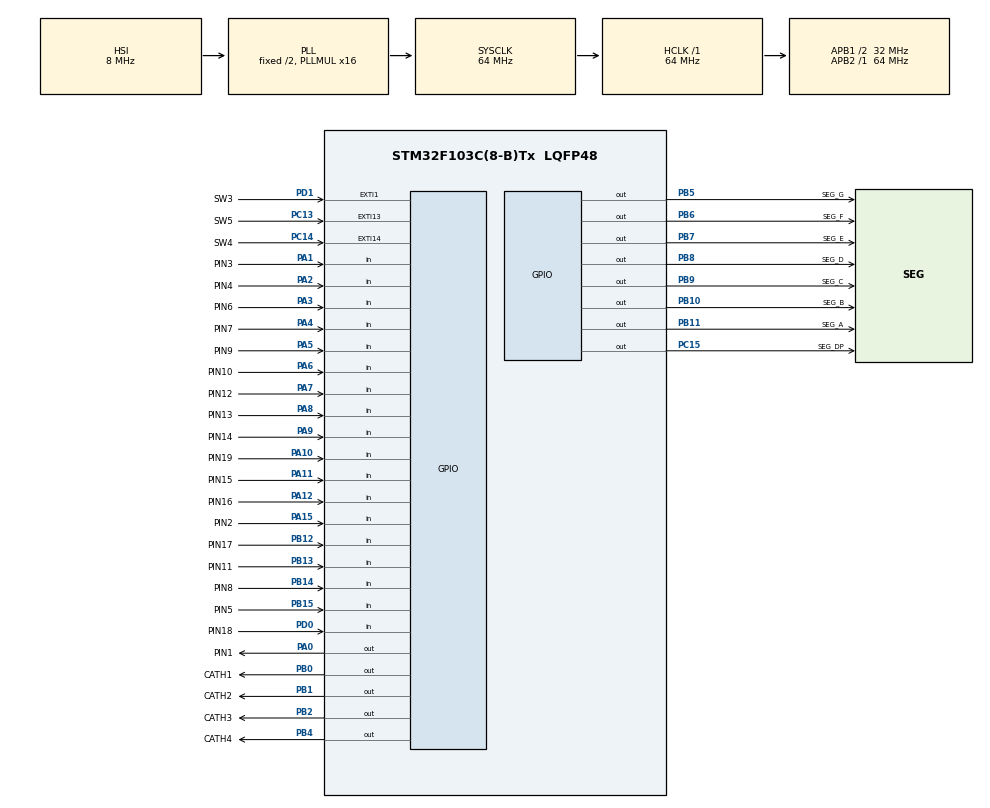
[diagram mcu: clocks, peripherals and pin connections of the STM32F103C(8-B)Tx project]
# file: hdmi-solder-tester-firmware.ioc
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Mcu.Family=STM32F1
Mcu.Name=STM32F103C(8-B)Tx
Mcu.Package=LQFP48
NVIC.EXTI15_10_IRQn=true\:0\:0\:false\:false\:true\:true\:true\:true
NVIC.EXTI1_IRQn=true\:0\:0\:false\:false\:true\:true\:true\:true
NVIC.PriorityGroup=NVIC_PRIORITYGROUP_4
PA0-WKUP.GPIO_Label=PIN1
PA0-WKUP.GPIO_PuPd=GPIO_PULLDOWN
PA0-WKUP.Signal=GPIO_Output
PA1.GPIO_Label=PIN3
PA1.GPIO_PuPd=GPIO_PULLDOWN
PA1.Signal=GPIO_Input
PA10.GPIO_Label=PIN19
PA10.GPIO_PuPd=GPIO_PULLDOWN
PA10.Signal=GPIO_Input
PA11.GPIO_Label=PIN15
PA11.GPIO_PuPd=GPIO_PULLDOWN
PA11.Signal=GPIO_Input
PA12.GPIO_Label=PIN16
PA12.GPIO_PuPd=GPIO_PULLDOWN
PA12.Signal=GPIO_Input
PA13.Mode=Trace_Asynchronous_SW
PA13.Signal=SYS_JTMS-SWDIO
PA14.Mode=Trace_Asynchronous_SW
PA14.Signal=SYS_JTCK-SWCLK
PA15.GPIO_Label=PIN2
PA15.GPIO_PuPd=GPIO_PULLDOWN
PA15.Signal=GPIO_Input
PA2.GPIO_Label=PIN4
PA2.GPIO_PuPd=GPIO_PULLDOWN
PA2.Signal=GPIO_Input
PA3.GPIO_Label=PIN6
PA3.GPIO_PuPd=GPIO_PULLDOWN
PA3.Signal=GPIO_Input
PA4.GPIO_Label=PIN7
PA4.GPIO_PuPd=GPIO_PULLDOWN
PA4.Signal=GPIO_Input
PA5.GPIO_Label=PIN9
PA5.GPIO_PuPd=GPIO_PULLDOWN
PA5.Signal=GPIO_Input
PA6.GPIO_Label=PIN10
PA6.GPIO_PuPd=GPIO_PULLDOWN
PA6.Signal=GPIO_Input
PA7.GPIO_Label=PIN12
PA7.GPIO_PuPd=GPIO_PULLDOWN
PA7.Signal=GPIO_Input
PA8.GPIO_Label=PIN13
PA8.GPIO_PuPd=GPIO_PULLDOWN
PA8.Signal=GPIO_Input
PA9.GPIO_Label=PIN14
PA9.GPIO_PuPd=GPIO_PULLDOWN
PA9.Signal=GPIO_Input
PB0.GPIO_Label=CATH1
PB0.Signal=GPIO_Output
PB1.GPIO_Label=CATH2
PB1.Signal=GPIO_Output
PB10.GPIO_Label=SEG_B
PB10.Signal=GPIO_Output
PB11.GPIO_Label=SEG_A
PB11.Signal=GPIO_Output
PB12.GPIO_Label=PIN17
PB12.GPIO_PuPd=GPIO_PULLDOWN
PB12.Signal=GPIO_Input
PB13.GPIO_Label=PIN11
PB13.GPIO_PuPd=GPIO_PULLDOWN
PB13.Signal=GPIO_Input
PB14.GPIO_Label=PIN8
PB14.GPIO_PuPd=GPIO_PULLDOWN
PB14.Signal=GPIO_Input
PB15.GPIO_Label=PIN5
PB15.GPIO_PuPd=GPIO_PULLDOWN
PB15.Signal=GPIO_Input
PB2.GPIO_Label=CATH3
PB2.Signal=GPIO_Output
PB3.Mode=Trace_Asynchronous_SW
PB3.Signal=SYS_JTDO-TRACESWO
PB4.GPIO_Label=CATH4
PB4.Signal=GPIO_Output
PB5.GPIO_Label=SEG_G
PB5.Signal=GPIO_Output
PB6.GPIO_Label=SEG_F
PB6.Signal=GPIO_Output
PB7.GPIO_Label=SEG_E
PB7.Signal=GPIO_Output
PB8.GPIO_Label=SEG_D
PB8.Signal=GPIO_Output
PB9.GPIO_Label=SEG_C
PB9.Signal=GPIO_Output
PC13-TAMPER-RTC.GPIO_Label=SW5
PC13-TAMPER-RTC.GPIO_PuPd=GPIO_PULLDOWN
PC13-TAMPER-RTC.Signal=GPXTI13
PC14-OSC32_IN.GPIO_Label=SW4
PC14-OSC32_IN.GPIO_PuPd=GPIO_PULLDOWN
PC14-OSC32_IN.Signal=GPXTI14
PC15-OSC32_OUT.GPIO_Label=SEG_DP
PC15-OSC32_OUT.Signal=GPIO_Output
PD0-OSC_IN.GPIO_Label=PIN18
PD0-OSC_IN.GPIO_PuPd=GPIO_PULLDOWN
PD0-OSC_IN.Signal=GPIO_Input
PD1-OSC_OUT.GPIO_Label=SW3
PD1-OSC_OUT.GPIO_PuPd=GPIO_PULLDOWN
PD1-OSC_OUT.Signal=GPXTI1
ProjectManager.HeapSize=0x200
ProjectManager.StackSize=0x400
ProjectManager.TargetToolchain=STM32CubeIDE
RCC.AHBFreq_Value=64000000
RCC.APB1CLKDivider=RCC_HCLK_DIV2
RCC.APB1Freq_Value=32000000
RCC.APB1TimFreq_Value=64000000
RCC.APB2Freq_Value=64000000
RCC.APB2TimFreq_Value=64000000
RCC.HCLKFreq_Value=64000000
RCC.PLLMUL=RCC_PLL_MUL16
RCC.SYSCLKFreq_VALUE=64000000
RCC.SYSCLKSource=RCC_SYSCLKSOURCE_PLLCLK
RCC.USBFreq_Value=64000000
board=custom

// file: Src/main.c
/* USER CODE BEGIN Header */
/**
  ******************************************************************************
  * @file           : main.c
  * @brief          : Main program body
  ******************************************************************************
  * @attention
  *
  * Copyright (c) 2024 STMicroelectronics.
  * All rights reserved.
  *
  * This software is licensed under terms that can be found in the LICENSE file
  * in the root directory of this software component.
  * If no LICENSE file comes with this software, it is provided AS-IS.
  *
  ******************************************************************************
  */
/* USER CODE END Header */
#include "main.h"

/* USER CODE BEGIN Includes */
#include <stdbool.h>

/* USER CODE END Includes */

void SystemClock_Config(void);

static void MX_GPIO_Init(void);

/* USER CODE BEGIN 0 */
static GPIO_TypeDef *pinToPort[] = {
    NULL, PIN1_GPIO_Port, PIN2_GPIO_Port, PIN3_GPIO_Port, PIN4_GPIO_Port, PIN5_GPIO_Port, PIN6_GPIO_Port,
    PIN7_GPIO_Port, PIN8_GPIO_Port, PIN9_GPIO_Port, PIN10_GPIO_Port, PIN11_GPIO_Port, PIN12_GPIO_Port, PIN13_GPIO_Port,
    PIN14_GPIO_Port, PIN15_GPIO_Port, PIN16_GPIO_Port, PIN17_GPIO_Port, PIN18_GPIO_Port, PIN19_GPIO_Port};

static int pinToPin[] = {
    -1, PIN1_Pin, PIN2_Pin, PIN3_Pin, PIN4_Pin, PIN5_Pin, PIN6_Pin, PIN7_Pin, PIN8_Pin, PIN9_Pin,
    PIN10_Pin, PIN11_Pin, PIN12_Pin, PIN13_Pin, PIN14_Pin, PIN15_Pin, PIN16_Pin, PIN17_Pin,
    PIN18_Pin, PIN19_Pin};

static GPIO_TypeDef *segmentToGpioPort[] = {SEG_A_GPIO_Port, SEG_B_GPIO_Port, SEG_C_GPIO_Port, SEG_D_GPIO_Port,
                                            SEG_E_GPIO_Port, SEG_F_GPIO_Port, SEG_G_GPIO_Port, SEG_DP_GPIO_Port};
static int segmentToGpio[] = {SEG_A_Pin, SEG_B_Pin, SEG_C_Pin, SEG_D_Pin, SEG_E_Pin, SEG_F_Pin, SEG_G_Pin, SEG_DP_Pin};

static int shortCircuits[HDMI_PINS + 1] = {0};

static bool start = false;
static bool singlestep = false;

static bool no_errors;
static int error_number = 0;
static int disp_pos = 0;
static GPIO_PinState toggle;
static uint32_t tick;
static uint32_t next_blink;
static uint32_t disp_time;
static int blink_count;

bool segments[4][8] = {false};

void setInputDirection(int pin) {
  GPIO_InitTypeDef GPIO_InitStruct = {0};
  GPIO_InitStruct.Pin = pinToPin[pin];
  GPIO_InitStruct.Mode = GPIO_MODE_INPUT;
  GPIO_InitStruct.Pull = GPIO_PULLDOWN;
  GPIO_InitStruct.Speed = GPIO_SPEED_FREQ_LOW;
  HAL_GPIO_Init(pinToPort[pin], &GPIO_InitStruct);
}

void setOutputDirection(int pin) {
  GPIO_InitTypeDef GPIO_InitStruct = {0};
  GPIO_InitStruct.Pin = pinToPin[pin];
  GPIO_InitStruct.Mode = GPIO_MODE_OUTPUT_PP;
  GPIO_InitStruct.Pull = GPIO_NOPULL;
  GPIO_InitStruct.Speed = GPIO_SPEED_FREQ_LOW;
  HAL_GPIO_Init(pinToPort[pin], &GPIO_InitStruct);
}

void run_dots() {
  if (tick > next_blink) {
    next_blink = tick + 100;
    segments[0][7] = false;
    segments[1][7] = false;
    segments[2][7] = false;
    segments[3][7] = false;
    segments[blink_count][7] = true;
    blink_count = (blink_count + 1) % 4;
  }
}

void find_next_error() {
  for (; shortCircuits[error_number] == 0 && error_number <= HDMI_PINS; ++error_number) {
    // do nothing
  }
  if (error_number > HDMI_PINS)
    error_number = 0;
}

void print_digit(int pos, int value) {
  bool *segm = segments[pos];
  switch (value) {
    case 0:
      segm[0] = true;
      segm[1] = true;
      segm[2] = true;
      segm[3] = true;
      segm[4] = true;
      segm[5] = true;
      segm[6] = false;
      segm[7] = false;
      break;
    case 1:
      segm[0] = false;
      segm[1] = true;
      segm[2] = true;
      segm[3] = false;
      segm[4] = false;
      segm[5] = false;
      segm[6] = false;
      segm[7] = false;
      break;
    case 2:
      segm[0] = true;
      segm[1] = true;
      segm[2] = false;
      segm[3] = true;
      segm[4] = true;
      segm[5] = false;
      segm[6] = true;
      segm[7] = false;
      break;
    case 3:
      segm[0] = true;
      segm[1] = true;
      segm[2] = true;
      segm[3] = true;
      segm[4] = false;
      segm[5] = false;
      segm[6] = true;
      segm[7] = false;
      break;
    case 4:
      segm[0] = false;
      segm[1] = true;
      segm[2] = true;
      segm[3] = false;
      segm[4] = false;
      segm[5] = true;
      segm[6] = true;
      segm[7] = false;
      break;
    case 5:
      segm[0] = true;
      segm[1] = false;
      segm[2] = true;
      segm[3] = true;
      segm[4] = false;
      segm[5] = true;
      segm[6] = true;
      segm[7] = false;
      break;
    case 6:
      segm[0] = true;
      segm[1] = false;
      segm[2] = true;
      segm[3] = true;
      segm[4] = true;
      segm[5] = true;
      segm[6] = true;
      segm[7] = false;
      break;
    case 7:
      segm[0] = true;
      segm[1] = true;
      segm[2] = true;
      segm[3] = false;
      segm[4] = false;
      segm[5] = false;
      segm[6] = false;
      segm[7] = false;
      break;
    case 8:
      segm[0] = true;
      segm[1] = true;
      segm[2] = true;
      segm[3] = true;
      segm[4] = true;
      segm[5] = true;
      segm[6] = true;
      segm[7] = false;
      break;
    case 9:
      segm[0] = true;
      segm[1] = true;
      segm[2] = true;
      segm[3] = true;
      segm[4] = false;
      segm[5] = true;
      segm[6] = true;
      segm[7] = false;
      break;
    default:
      segm[0] = false;
      segm[1] = false;
      segm[2] = false;
      segm[3] = false;
      segm[4] = false;
      segm[5] = false;
      segm[6] = false;
      segm[7] = false;
      break;
  }
}

void display_loop() {
  HAL_GPIO_WritePin(CATH1_GPIO_Port, CATH1_Pin, GPIO_PIN_SET);
  HAL_GPIO_WritePin(CATH2_GPIO_Port, CATH2_Pin, GPIO_PIN_SET);
  HAL_GPIO_WritePin(CATH3_GPIO_Port, CATH3_Pin, GPIO_PIN_SET);
  HAL_GPIO_WritePin(CATH4_GPIO_Port, CATH4_Pin, GPIO_PIN_SET);
  switch (disp_pos) {
    case 0:
      HAL_GPIO_WritePin(CATH1_GPIO_Port, CATH1_Pin, GPIO_PIN_RESET);
      break;
    case 1:
      HAL_GPIO_WritePin(CATH2_GPIO_Port, CATH2_Pin, GPIO_PIN_RESET);
      break;
    case 2:
      HAL_GPIO_WritePin(CATH3_GPIO_Port, CATH3_Pin, GPIO_PIN_RESET);
      break;
    case 3:
      HAL_GPIO_WritePin(CATH4_GPIO_Port, CATH4_Pin, GPIO_PIN_RESET);
      break;
  }
  for (int i = 0; i < 8; i++) {
    bool segm = segments[disp_pos][i];
    HAL_GPIO_WritePin(segmentToGpioPort[i], segmentToGpio[i], segm ? GPIO_PIN_SET : GPIO_PIN_RESET);
  }
  disp_pos = (disp_pos + 1) % 4;
}

void clear_disp()
{
  print_digit(0,-1);
  print_digit(1,-1);
  print_digit(2,-1);
  print_digit(3,-1);
}

void show_number(int left, int right) {
  clear_disp();
  int first = left / 10;
  int second = left % 10;
  int third = right / 10;
  int forth = right % 10;
  if (first == 0)
    first = -1;
  print_digit(0, first);
  print_digit(1, second);
  if (third == 0)
    third = -1;
  print_digit(2, third);
  print_digit(3, forth);
}

void show_ok() {
  clear_disp();
  print_digit(1,0);
  print_digit(3,0);
}
/* USER CODE END 0 */

int main(void) {

  /* MCU Configuration--------------------------------------------------------*/

  /* Reset of all peripherals, Initializes the Flash interface and the Systick. */
  HAL_Init();

  /* Configure the system clock */
  SystemClock_Config();

  /* Initialize all configured peripherals */
  MX_GPIO_Init();

  /* Infinite loop */
  /* USER CODE BEGIN WHILE */

  while (1) {

    tick = HAL_GetTick();
    if (start) {
      no_errors = true;
      for (int pin = 1; pin <= HDMI_PINS; pin++) {
        setInputDirection(pin);
      }
      for (int pinOut = 1; pinOut <= HDMI_PINS; pinOut++) {
        setOutputDirection(pinOut);
        HAL_GPIO_WritePin(pinToPort[pinOut], pinToPin[pinOut], GPIO_PIN_SET);
        shortCircuits[pinOut] = 0;
        for (int pin = 1; pin <= HDMI_PINS; pin++) {
          if (pin != pinOut) {
            GPIO_PinState state = HAL_GPIO_ReadPin(pinToPort[pin], pinToPin[pin]);
            if (state == GPIO_PIN_SET) {
              shortCircuits[pinOut] = pin;
              no_errors = false;
              singlestep = true;
            }
          }
          HAL_Delay(2);
        }
        HAL_GPIO_WritePin(pinToPort[pinOut], pinToPin[pinOut], GPIO_PIN_RESET);
        setInputDirection(pinOut);
      }
    }
    start = false;
    if (no_errors) {
      show_ok();
    } else if (singlestep) {
      find_next_error();
      show_number(error_number, shortCircuits[error_number]);
      singlestep = false;
    }
    if (tick > disp_time) {
      display_loop();
      disp_time = tick + 5;
    }

    /* USER CODE END WHILE */

  }
}

void SystemClock_Config(void) {
  RCC_OscInitTypeDef RCC_OscInitStruct = {0};
  RCC_ClkInitTypeDef RCC_ClkInitStruct = {0};

  /** Initializes the RCC Oscillators according to the specified parameters
  * in the RCC_OscInitTypeDef structure.
  */
  RCC_OscInitStruct.OscillatorType = RCC_OSCILLATORTYPE_HSI;
  RCC_OscInitStruct.HSIState = RCC_HSI_ON;
  RCC_OscInitStruct.HSICalibrationValue = RCC_HSICALIBRATION_DEFAULT;
  RCC_OscInitStruct.PLL.PLLState = RCC_PLL_ON;
  RCC_OscInitStruct.PLL.PLLSource = RCC_PLLSOURCE_HSI_DIV2;
  RCC_OscInitStruct.PLL.PLLMUL = RCC_PLL_MUL16;
  if (HAL_RCC_OscConfig(&RCC_OscInitStruct) != HAL_OK) {
    Error_Handler();
  }

  /** Initializes the CPU, AHB and APB buses clocks
  */
  RCC_ClkInitStruct.ClockType = RCC_CLOCKTYPE_HCLK | RCC_CLOCKTYPE_SYSCLK
                                | RCC_CLOCKTYPE_PCLK1 | RCC_CLOCKTYPE_PCLK2;
  RCC_ClkInitStruct.SYSCLKSource = RCC_SYSCLKSOURCE_PLLCLK;
  RCC_ClkInitStruct.AHBCLKDivider = RCC_SYSCLK_DIV1;
  RCC_ClkInitStruct.APB1CLKDivider = RCC_HCLK_DIV2;
  RCC_ClkInitStruct.APB2CLKDivider = RCC_HCLK_DIV1;

  if (HAL_RCC_ClockConfig(&RCC_ClkInitStruct, FLASH_LATENCY_2) != HAL_OK) {
    Error_Handler();
  }
}

static void MX_GPIO_Init(void) {
  GPIO_InitTypeDef GPIO_InitStruct = {0};

  /* GPIO Ports Clock Enable */
  __HAL_RCC_GPIOC_CLK_ENABLE();
  __HAL_RCC_GPIOD_CLK_ENABLE();
  __HAL_RCC_GPIOA_CLK_ENABLE();
  __HAL_RCC_GPIOB_CLK_ENABLE();

  /*Configure GPIO pin Output Level */
  HAL_GPIO_WritePin(SEG_DP_GPIO_Port, SEG_DP_Pin, GPIO_PIN_RESET);

  /*Configure GPIO pin Output Level */
  HAL_GPIO_WritePin(PIN1_GPIO_Port, PIN1_Pin, GPIO_PIN_RESET);

  /*Configure GPIO pin Output Level */
  HAL_GPIO_WritePin(GPIOB, CATH1_Pin | CATH2_Pin | CATH3_Pin | SEG_B_Pin
                           | SEG_A_Pin | CATH4_Pin | SEG_G_Pin | SEG_F_Pin
                           | SEG_E_Pin | SEG_D_Pin | SEG_C_Pin, GPIO_PIN_RESET);

  /*Configure GPIO pins : SW5_Pin SW4_Pin */
  GPIO_InitStruct.Pin = SW5_Pin | SW4_Pin;
  GPIO_InitStruct.Mode = GPIO_MODE_IT_RISING;
  GPIO_InitStruct.Pull = GPIO_PULLDOWN;
  HAL_GPIO_Init(GPIOC, &GPIO_InitStruct);

  /*Configure GPIO pin : SEG_DP_Pin */
  GPIO_InitStruct.Pin = SEG_DP_Pin;
  GPIO_InitStruct.Mode = GPIO_MODE_OUTPUT_PP;
  GPIO_InitStruct.Pull = GPIO_NOPULL;
  GPIO_InitStruct.Speed = GPIO_SPEED_FREQ_LOW;
  HAL_GPIO_Init(SEG_DP_GPIO_Port, &GPIO_InitStruct);

  /*Configure GPIO pin : PIN18_Pin */
  GPIO_InitStruct.Pin = PIN18_Pin;
  GPIO_InitStruct.Mode = GPIO_MODE_INPUT;
  GPIO_InitStruct.Pull = GPIO_PULLDOWN;
  HAL_GPIO_Init(PIN18_GPIO_Port, &GPIO_InitStruct);

  /*Configure GPIO pin : SW3_Pin */
  GPIO_InitStruct.Pin = SW3_Pin;
  GPIO_InitStruct.Mode = GPIO_MODE_IT_RISING;
  GPIO_InitStruct.Pull = GPIO_PULLDOWN;
  HAL_GPIO_Init(SW3_GPIO_Port, &GPIO_InitStruct);

  /*Configure GPIO pin : PIN1_Pin */
  GPIO_InitStruct.Pin = PIN1_Pin;
  GPIO_InitStruct.Mode = GPIO_MODE_OUTPUT_PP;
  GPIO_InitStruct.Pull = GPIO_PULLDOWN;
  GPIO_InitStruct.Speed = GPIO_SPEED_FREQ_LOW;
  HAL_GPIO_Init(PIN1_GPIO_Port, &GPIO_InitStruct);

  /*Configure GPIO pins : PIN3_Pin PIN4_Pin PIN6_Pin PIN7_Pin
                           PIN9_Pin PIN10_Pin PIN12_Pin PIN13_Pin
                           PIN14_Pin PIN19_Pin PIN15_Pin PIN16_Pin
                           PIN2_Pin */
  GPIO_InitStruct.Pin = PIN3_Pin | PIN4_Pin | PIN6_Pin | PIN7_Pin
                        | PIN9_Pin | PIN10_Pin | PIN12_Pin | PIN13_Pin
                        | PIN14_Pin | PIN19_Pin | PIN15_Pin | PIN16_Pin
                        | PIN2_Pin;
  GPIO_InitStruct.Mode = GPIO_MODE_INPUT;
  GPIO_InitStruct.Pull = GPIO_PULLDOWN;
  HAL_GPIO_Init(GPIOA, &GPIO_InitStruct);

  /*Configure GPIO pins : CATH1_Pin CATH2_Pin CATH3_Pin SEG_B_Pin
                           SEG_A_Pin CATH4_Pin SEG_G_Pin SEG_F_Pin
                           SEG_E_Pin SEG_D_Pin SEG_C_Pin */
  GPIO_InitStruct.Pin = CATH1_Pin | CATH2_Pin | CATH3_Pin | SEG_B_Pin
                        | SEG_A_Pin | CATH4_Pin | SEG_G_Pin | SEG_F_Pin
                        | SEG_E_Pin | SEG_D_Pin | SEG_C_Pin;
  GPIO_InitStruct.Mode = GPIO_MODE_OUTPUT_PP;
  GPIO_InitStruct.Pull = GPIO_NOPULL;
  GPIO_InitStruct.Speed = GPIO_SPEED_FREQ_LOW;
  HAL_GPIO_Init(GPIOB, &GPIO_InitStruct);

  /*Configure GPIO pins : PIN17_Pin PIN11_Pin PIN8_Pin PIN5_Pin */
  GPIO_InitStruct.Pin = PIN17_Pin | PIN11_Pin | PIN8_Pin | PIN5_Pin;
  GPIO_InitStruct.Mode = GPIO_MODE_INPUT;
  GPIO_InitStruct.Pull = GPIO_PULLDOWN;
  HAL_GPIO_Init(GPIOB, &GPIO_InitStruct);

  /*Configure peripheral I/O remapping */
  __HAL_AFIO_REMAP_PD01_ENABLE();

  /* EXTI interrupt init*/
  HAL_NVIC_SetPriority(EXTI1_IRQn, 0, 0);
  HAL_NVIC_EnableIRQ(EXTI1_IRQn);

  HAL_NVIC_SetPriority(EXTI15_10_IRQn, 0, 0);
  HAL_NVIC_EnableIRQ(EXTI15_10_IRQn);

}

/* USER CODE BEGIN 4 */
void HAL_GPIO_EXTI_Callback(uint16_t GPIO_Pin) {
  if (GPIO_Pin & SW4_Pin)
    start = true;
  if (GPIO_Pin & SW5_Pin)
    singlestep = true;
}

/* USER CODE END 4 */

void Error_Handler(void) {
  __disable_irq();
  while (1) {
  }
}
